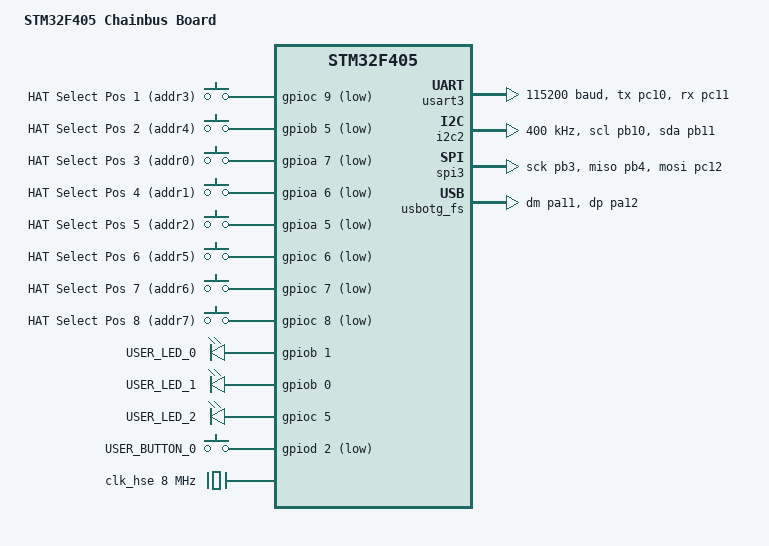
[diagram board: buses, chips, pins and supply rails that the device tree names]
/dts-v1/;
#include <st/f4/stm32f405Xg.dtsi>
#include <st/f4/stm32f405rgtx-pinctrl.dtsi>
#include <zephyr/dt-bindings/input/input-event-codes.h>

/ {
	model = "STM32F405 Chainbus Board";
	compatible = "konar,stm32f405-chainbus";

	/* 
	 * Zephyr Chosen Node
	 * Connects System Console/Shell to USART3 and defines Memory boundaries
	 */
	chosen {
		zephyr,sram = &sram0;
		zephyr,flash = &flash0;
		zephyr,console = &cdc_acm_uart0;
		zephyr,shell-uart = &cdc_acm_uart0;
		zephyr,ccm = &ccm0;
	};

	aliases {
		chainbus-i2c = &i2c2;
		chainbus-spi = &spi3;
		chainbus-uart = &usart3;
	};

	/*
	 * HAT Selection Lines
	 * Individual GPIO lines for 8 HAT positions (active-low selection)
	 */
	chainbus-hat-select {
		compatible = "gpio-keys";

		hat_sel_1: pos_1 {
			gpios = <&gpioc 9 GPIO_ACTIVE_LOW>;
			label = "HAT Select Pos 1 (addr3)";
		};
		hat_sel_2: pos_2 {
			gpios = <&gpiob 5 GPIO_ACTIVE_LOW>;
			label = "HAT Select Pos 2 (addr4)";
		};
		hat_sel_3: pos_3 {
			gpios = <&gpioa 7 GPIO_ACTIVE_LOW>;
			label = "HAT Select Pos 3 (addr0)";
		};
		hat_sel_4: pos_4 {
			gpios = <&gpioa 6 GPIO_ACTIVE_LOW>;
			label = "HAT Select Pos 4 (addr1)";
		};
		hat_sel_5: pos_5 {
			gpios = <&gpioa 5 GPIO_ACTIVE_LOW>;
			label = "HAT Select Pos 5 (addr2)";
		};
		hat_sel_6: pos_6 {
			gpios = <&gpioc 6 GPIO_ACTIVE_LOW>;
			label = "HAT Select Pos 6 (addr5)";
		};
		hat_sel_7: pos_7 {
			gpios = <&gpioc 7 GPIO_ACTIVE_LOW>;
			label = "HAT Select Pos 7 (addr6)";
		};
		hat_sel_8: pos_8 {
			gpios = <&gpioc 8 GPIO_ACTIVE_LOW>;
			label = "HAT Select Pos 8 (addr7)";
		};
	};

	leds {
		compatible = "gpio-leds";
		led0: led_0 {
			gpios = <&gpiob 1 GPIO_ACTIVE_HIGH>;
			label = "USER_LED_0";
		};
		led1: led_1 {
			gpios = <&gpiob 0 GPIO_ACTIVE_HIGH>;
			label = "USER_LED_1";
		};
		led2: led_2 {
			gpios = <&gpioc 5 GPIO_ACTIVE_HIGH>;
			label = "USER_LED_2";
		};
	};
	buttons {
		compatible = "gpio-keys";
		button0: button_0 {
			gpios = <&gpiod 2 GPIO_ACTIVE_LOW>;
			label = "USER_BUTTON_0";
		};
	};
};

/*
 * External Crystal & System Clock Configuration (8 MHz HSE -> 168 MHz SYSCLK)
 */
&clk_hse {
	clock-frequency = <DT_FREQ_M(8)>;
	status = "okay";
};

&pll {
	div-m = <8>;
	mul-n = <336>;
	div-p = <2>;
	div-q = <7>;
	clocks = <&clk_hse>;
	status = "okay";
};

&rcc {
	clocks = <&pll>;
	clock-frequency = <DT_FREQ_M(168)>;
	ahb-prescaler = <1>;
	apb1-prescaler = <4>;
	apb2-prescaler = <2>;
};

/*
 * USART3 - Main Chainbus Serial & Zephyr Console
 * TX: PC10, RX: PC11
 */
&usart3 {
	pinctrl-0 = <&usart3_tx_pc10 &usart3_rx_pc11>;
	pinctrl-names = "default";
	current-speed = <115200>;
	status = "okay";
};

/*
 * I2C2 - Chainbus I2C Line
 * SCL: PB10, SDA: PB11
 */
&i2c2 {
	pinctrl-0 = <&i2c2_scl_pb10 &i2c2_sda_pb11>;
	pinctrl-names = "default";
	clock-frequency = <I2C_BITRATE_FAST>;
	status = "okay";
};

/*
 * SPI3 - Chainbus SPI Line
 * SCK: PB3, MISO: PB4, MOSI: PC12
 * CS:  PA15 (Software Chip Select, Active Low)
 * 
 * Note: PB3, PB4, and PA15 claim JTAG pins (JTDO, NJTRST, JTDI).
 * Flash and debug using SWD (PA13/PA14).
 */
&spi3 {
	pinctrl-0 = <&spi3_sck_pb3 &spi3_miso_pb4 &spi3_mosi_pc12>;
	pinctrl-names = "default";
	cs-gpios = <&gpioa 15 GPIO_ACTIVE_LOW>;
	status = "okay";
};

zephyr_udc0: &usbotg_fs {
    status = "okay";
	pinctrl-0 = <&usb_otg_fs_dm_pa11 &usb_otg_fs_dp_pa12>;
    pinctrl-names = "default";
    cdc_acm_uart0: cdc_acm_uart0 {
        compatible = "zephyr,cdc-acm-uart";
    };
};
